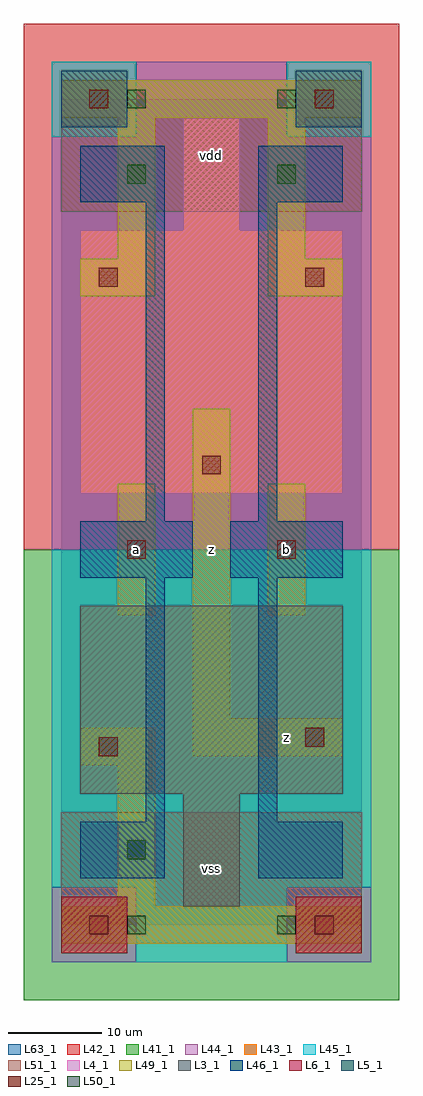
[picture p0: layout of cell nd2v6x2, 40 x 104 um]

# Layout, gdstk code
import gdstk
lib = gdstk.Library(unit=1e-6, precision=1e-09)
def R(c, l, rs):  # rectangles x0, y0, x1, y1
    for r in rs: c.add(gdstk.rectangle(r[:2], r[2:], *l))
L3_1 = (3, 1)
L4_1 = (4, 1)
L5_1 = (5, 1)
L6_1 = (6, 1)
L25_1 = (25, 1)
L41_1 = (41, 1)
L42_1 = (42, 1)
L43_1 = (43, 1)
L44_1 = (44, 1)
L45_1 = (45, 1)
L46_1 = (46, 1)
L49_1 = (49, 1)
L50_1 = (50, 1)
L51_1 = (51, 1)
L63_1 = (63, 1)

nd2v6x2 = lib.new_cell('nd2v6x2')
R(nd2v6x2, L3_1, [(13,2,19,14), (2,14,30,34)])
R(nd2v6x2, L4_1, [(2,46,30,74), (13,74,19,86)])
R(nd2v6x2, L5_1, [(0,85,7,91), (25,85,32,91)])
R(nd2v6x2, L6_1, [(0,-3,7,3), (0,-3,7,3), (25,-3,32,3), (25,-3,32,3)])
R(nd2v6x2, L25_1, [(3,-1,5,1), (27,-1,29,1), (4,18,6,20), (26,19,28,21), (7,39,9,41), (23,39,25,41), (15,48,17,50), (4,68,6,70), (26,68,28,70), (3,87,5,89), (27,87,29,89)])
R(nd2v6x2, L41_1, [(-4,-8,36,40)])
R(nd2v6x2, L42_1, [(-4,40,36,96)])
R(nd2v6x2, L43_1, [(0,-3,7,3), (25,-3,32,3), (13,2,19,14), (2,14,30,34), (2,46,30,74), (13,74,19,86), (0,85,7,91), (25,85,32,91)])
R(nd2v6x2, L44_1, [(-1,-4,8,4), (24,-4,33,4), (-1,40,33,84), (8,84,24,92)])
R(nd2v6x2, L45_1, [(8,-4,24,4), (-1,4,33,40), (-1,84,8,92), (24,84,33,92)])
R(nd2v6x2, L46_1, [(2,5,11,11), (21,5,30,11), (9,11,11,37), (21,11,23,37), (2,37,14,43), (18,37,30,43), (9,43,11,77), (21,43,23,77), (2,77,11,83), (21,77,30,83)])
R(nd2v6x2, L49_1, [(0,-2,32,2), (6,2,10,17), (2,17,10,21), (14,18,30,22), (14,22,18,55), (6,33,10,47), (22,33,26,47), (2,67,10,71), (22,67,30,71), (6,71,10,86), (22,71,26,86), (0,86,32,90)])
R(nd2v6x2, L50_1, [(7,-1,9,1), (23,-1,25,1), (7,7,9,9), (7,79,9,81), (23,79,25,81), (7,87,9,89), (23,87,25,89)])
R(nd2v6x2, L51_1, [(0,-2,32,12), (0,76,32,90)])
R(nd2v6x2, L63_1, [(0,0,32,88)])
nd2v6x2.add(gdstk.Label('a', (8,40), layer=49, texttype=1))
nd2v6x2.add(gdstk.Label('z', (16,40), layer=49, texttype=1))
nd2v6x2.add(gdstk.Label('z', (24,20), layer=49, texttype=1))
nd2v6x2.add(gdstk.Label('b', (24,40), layer=49, texttype=1))
nd2v6x2.add(gdstk.Label('vss', (16,6), layer=51, texttype=1))
nd2v6x2.add(gdstk.Label('vdd', (16,82), layer=51, texttype=1))

lib.write_gds('nd2v6x2.gds')
